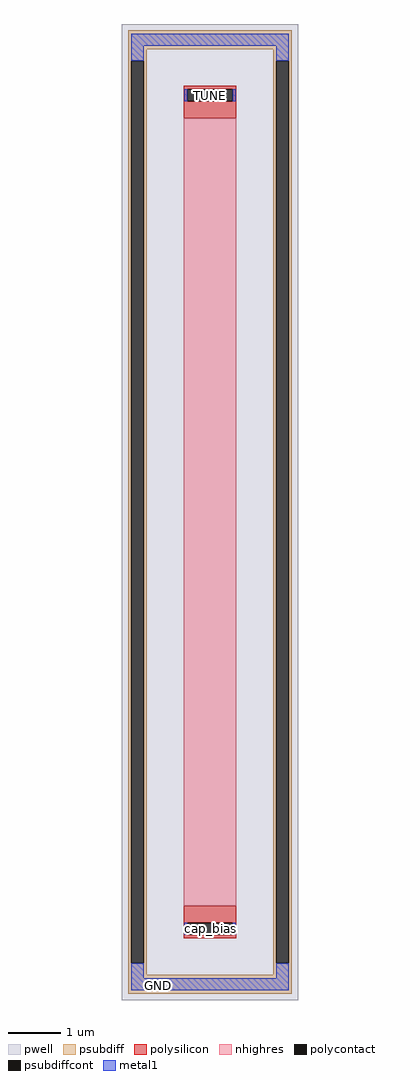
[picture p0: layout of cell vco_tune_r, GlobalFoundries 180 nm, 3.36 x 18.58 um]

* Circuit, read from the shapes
.subckt vco_tune_r TUNE cap_bias GND
XR1 TUNE cap_bias GND ppolyf_u_1k r_width=1u r_length=15u
.ends

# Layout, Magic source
magic
tech gf180mcuD
magscale 1 10
<< pwell >>
rect -60 -60 612 3656
<< psubdiff >>
rect -36 3560 588 3632
rect -36 3516 36 3560
rect -36 80 -23 3516
rect 23 80 36 3516
rect 516 3516 588 3560
rect -36 36 36 80
rect 516 80 529 3516
rect 575 80 588 3516
rect 516 36 588 80
rect -36 -36 588 36
<< psubdiffcont >>
rect -23 80 23 3516
rect 529 80 575 3516
<< polysilicon >>
rect 176 3407 376 3420
rect 176 3361 189 3407
rect 363 3361 376 3407
rect 176 3298 376 3361
rect 176 235 376 298
rect 176 189 189 235
rect 363 189 376 235
rect 176 176 376 189
<< polycontact >>
rect 189 3361 363 3407
rect 189 189 363 235
<< nhighres >>
rect 176 298 376 3298
<< metal1 >>
rect -23 3573 575 3619
rect -23 3516 23 3573
rect 529 3516 575 3573
rect 178 3361 189 3407
rect 363 3361 374 3407
rect 178 189 189 235
rect 363 189 374 235
rect -23 23 23 80
rect 529 23 575 80
rect -23 -23 575 23
<< labels >>
rlabel metal1 240 3372 312 3396 0 TUNE
port 1 nsew
rlabel metal1 240 200 312 224 0 cap_bias
port 2 nsew
rlabel metal1 40 -20 120 12 0 GND
port 3 nsew
<< end >>
